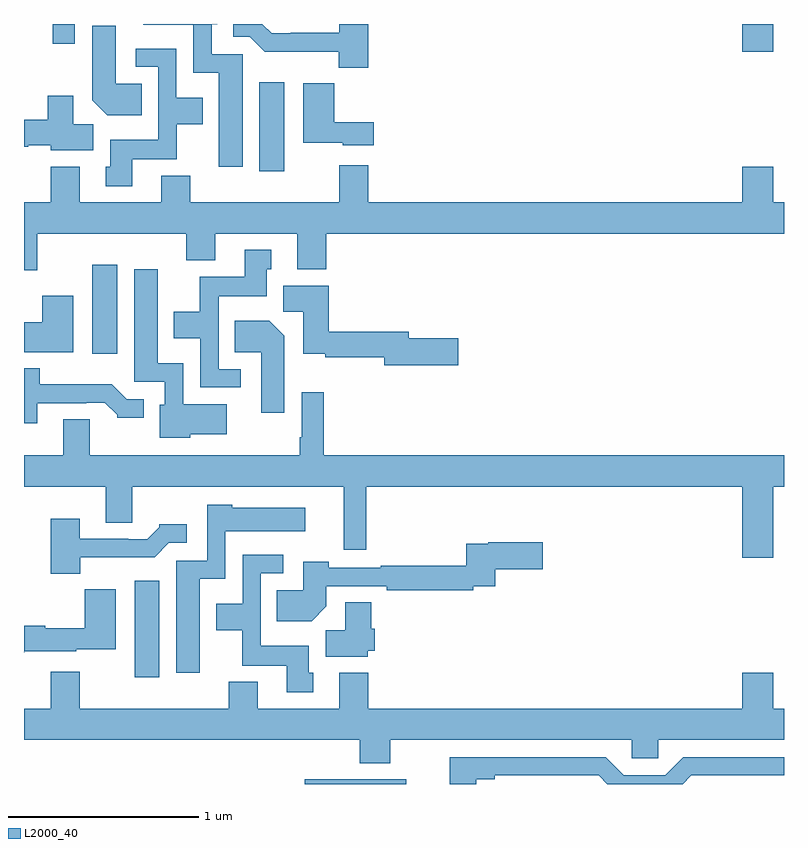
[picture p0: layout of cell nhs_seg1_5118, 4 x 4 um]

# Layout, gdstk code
import gdstk
lib = gdstk.Library(unit=1e-6, precision=1e-09)
def R(c, l, rs):  # rectangles x0, y0, x1, y1
    for r in rs: c.add(gdstk.rectangle(r[:2], r[2:], *l))
def P(c, l, *ps):  # polygons
    for p in ps: c.add(gdstk.Polygon(p, *l))
L2000_40 = (2000, 40)

nhs_seg1_5118 = lib.new_cell('nhs_seg1_5118')
R(nhs_seg1_5118, L2000_40, [(390.477,518.199,391.011,518.223), (389.582,518.76,389.713,519.268), (389.36,520.464,389.491,520.933), (390.239,521.424,390.37,521.893), (392.78,522.054,392.944,522.199), (389.152,522.096,389.268,522.199)])
P(nhs_seg1_5118, L2000_40, [(390.151,522.039),(389.988,522.039),(389.988,522.198),(390.016,522.198),(390.016,522.199),(389.628,522.199),(389.628,522.194),(389.892,522.194),(389.892,521.942),(390.026,521.942),(390.026,521.448),(390.151,521.448)],
  [(390.812,522.199),(390.659,522.199),(390.659,522.153),(390.403,522.153),(390.403,522.15),(390.304,522.15),(390.255,522.199),(390.101,522.199),(390.101,522.132),(390.189,522.132),(390.268,522.054),(390.657,522.054),(390.657,521.969),(390.812,521.969)],
  [(389.621,521.884),(389.482,521.884),(389.482,522.19),(389.36,522.19),(389.36,521.798),(389.438,521.72),(389.621,521.72)],
  [(389.569,521.486),(389.805,521.486),(389.805,521.672),(389.941,521.672),(389.941,521.812),(389.802,521.812),(389.802,522.069),(389.589,522.069),(389.589,521.973),(389.706,521.973),(389.706,521.59),(389.453,521.59),(389.453,521.448),(389.429,521.448),(389.429,521.346),(389.569,521.346)],
  [(390.841,521.683),(390.632,521.683),(390.632,521.887),(390.47,521.887),(390.47,521.573),(390.678,521.573),(390.678,521.561),(390.841,521.561)],
  [(389.365,521.672),(389.26,521.672),(389.26,521.821),(389.126,521.821),(389.126,521.696),(389,521.696),(389,521.554),(389.022,521.554),(389.022,521.561),(389.142,521.561),(389.142,521.534),(389.365,521.534)],
  [(389.071,521.096),(389.855,521.096),(389.855,520.955),(390.007,520.955),(390.007,521.096),(390.437,521.096),(390.437,520.907),(390.59,520.907),(390.59,521.096),(393,521.096),(393,521.26),(392.944,521.26),(392.944,521.449),(392.78,521.449),(392.78,521.26),(390.812,521.26),(390.812,521.455),(390.659,521.455),(390.659,521.26),(389.876,521.26),(389.876,521.401),(389.723,521.401),(389.723,521.26),(389.293,521.26),(389.293,521.449),(389.141,521.449),(389.141,521.26),(389,521.26),(389,520.902),(389.071,520.902)],
  [(390.142,520.383),(390.024,520.383),(390.024,520.766),(390.277,520.766),(390.277,520.908),(390.301,520.908),(390.301,521.011),(390.161,521.011),(390.161,520.87),(389.926,520.87),(389.926,520.684),(389.789,520.684),(389.789,520.544),(389.928,520.544),(389.928,520.287),(390.142,520.287)],
  [(389.874,520.04),(390.067,520.04),(390.067,520.198),(389.838,520.198),(389.838,520.414),(389.704,520.414),(389.704,520.909),(389.579,520.909),(389.579,520.317),(389.742,520.317),(389.742,520.194),(389.714,520.194),(389.714,520.022),(389.874,520.022)],
  [(391.285,520.544),(391.024,520.544),(391.024,520.58),(390.605,520.58),(390.605,520.822),(390.365,520.822),(390.365,520.684),(390.47,520.684),(390.47,520.463),(390.586,520.463),(390.586,520.444),(390.896,520.444),(390.896,520.402),(391.285,520.402)],
  [(389.26,520.77),(389.096,520.77),(389.096,520.63),(389,520.63),(389,520.472),(389.26,520.472)],
  [(390.37,520.558),(390.292,520.636),(390.109,520.636),(390.109,520.472),(390.248,520.472),(390.248,520.152),(390.37,520.152)],
  [(389.071,520.203),(389.327,520.203),(389.327,520.206),(389.426,520.206),(389.49,520.142),(389.49,520.127),(389.629,520.127),(389.629,520.224),(389.541,520.224),(389.463,520.303),(389.084,520.303),(389.084,520.387),(389,520.387),(389,520.097),(389.071,520.097)],
  [(392.944,519.764),(393,519.764),(393,519.928),(390.578,519.928),(390.578,520.261),(390.462,520.261),(390.462,520.024),(390.45,520.024),(390.45,519.928),(389.347,519.928),(389.347,520.118),(389.207,520.118),(389.207,519.928),(389,519.928),(389,519.764),(389.429,519.764),(389.429,519.574),(389.569,519.574),(389.569,519.764),(390.683,519.764),(390.683,519.432),(390.8,519.432),(390.8,519.764),(392.78,519.764),(392.78,519.39),(392.944,519.39)],
  [(389.926,519.278),(390.06,519.278),(390.06,519.53),(390.481,519.53),(390.481,519.652),(390.096,519.652),(390.096,519.67),(389.964,519.67),(389.964,519.375),(389.801,519.375),(389.801,518.784),(389.926,518.784)],
  [(389.296,519.392),(389.687,519.392),(389.763,519.468),(389.857,519.468),(389.857,519.565),(389.712,519.565),(389.712,519.55),(389.648,519.486),(389.549,519.486),(389.549,519.489),(389.293,519.489),(389.293,519.595),(389.141,519.595),(389.141,519.305),(389.296,519.305)],
  [(390.592,519.134),(390.592,519.24),(390.91,519.24),(390.91,519.22),(391.364,519.22),(391.364,519.24),(391.481,519.24),(391.481,519.329),(391.729,519.329),(391.729,519.471),(391.444,519.471),(391.444,519.463),(391.328,519.463),(391.328,519.349),(390.877,519.349),(390.877,519.336),(390.605,519.336),(390.605,519.37),(390.47,519.37),(390.47,519.22),(390.331,519.22),(390.331,519.056),(390.514,519.056)],
  [(390.523,518.784),(390.499,518.784),(390.499,518.926),(390.246,518.926),(390.246,519.309),(390.364,519.309),(390.364,519.405),(390.15,519.405),(390.15,519.148),(390.011,519.148),(390.011,519.008),(390.148,519.008),(390.148,518.822),(390.383,518.822),(390.383,518.682),(390.523,518.682)],
  [(389.002,518.897),(389.274,518.897),(389.274,518.909),(389.482,518.909),(389.482,519.223),(389.32,519.223),(389.32,519.019),(389.112,519.019),(389.112,519.032),(389,519.032),(389,518.89),(389.002,518.89)],
  [(390.81,518.901),(390.845,518.901),(390.845,519.015),(390.827,519.015),(390.827,519.155),(390.692,519.155),(390.692,519.008),(390.587,519.008),(390.587,518.87),(390.81,518.87)],
  [(390.927,518.432),(392.199,518.432),(392.199,518.334),(392.337,518.334),(392.337,518.432),(393,518.432),(393,518.596),(392.944,518.596),(392.944,518.785),(392.78,518.785),(392.78,518.596),(390.812,518.596),(390.812,518.785),(390.659,518.785),(390.659,518.596),(390.229,518.596),(390.229,518.737),(390.077,518.737),(390.077,518.596),(389.293,518.596),(389.293,518.791),(389.141,518.791),(389.141,518.596),(389,518.596),(389,518.432),(390.767,518.432),(390.767,518.308),(390.927,518.308)],
  [(391.381,518.224),(391.477,518.224),(391.477,518.244),(392.025,518.244),(392.07,518.199),(392.466,518.199),(392.511,518.244),(393,518.244),(393,518.34),(392.471,518.34),(392.375,518.244),(392.157,518.244),(392.061,518.34),(391.241,518.34),(391.241,518.199),(391.381,518.199)])

lib.write_gds('nhs_seg1_5118.gds')
